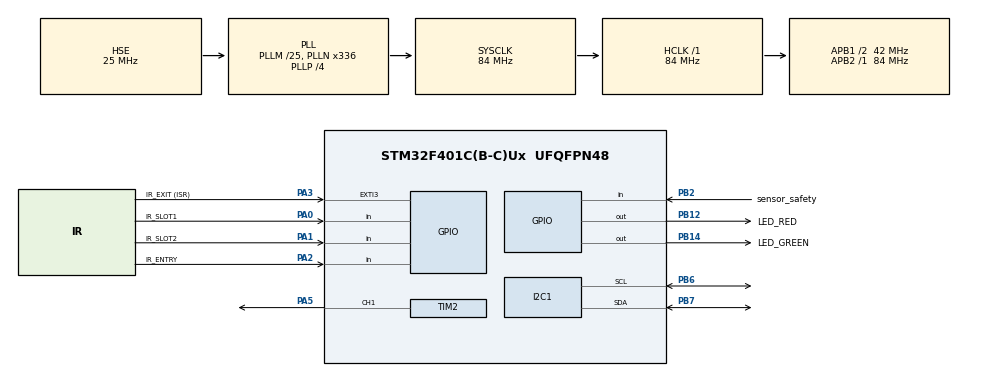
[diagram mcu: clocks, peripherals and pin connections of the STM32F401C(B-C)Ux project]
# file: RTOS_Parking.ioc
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FREERTOS.Tasks01=defaultTask,24,128,StartDefaultTask,Default,NULL,Dynamic,NULL,NULL
FREERTOS.configUSE_NEWLIB_REENTRANT=1
Mcu.Family=STM32F4
Mcu.Name=STM32F401C(B-C)Ux
Mcu.Package=UFQFPN48
NVIC.EXTI3_IRQn=true\:6\:0\:true\:false\:true\:true\:true\:true\:true
NVIC.PriorityGroup=NVIC_PRIORITYGROUP_4
NVIC.TIM1_UP_TIM10_IRQn=true\:15\:0\:false\:false\:true\:false\:false\:true\:true
NVIC.TimeBase=TIM1_UP_TIM10_IRQn
NVIC.TimeBaseIP=TIM1
PA0-WKUP.GPIO_Label=IR_SLOT1
PA0-WKUP.GPIO_PuPd=GPIO_PULLUP
PA0-WKUP.Signal=GPIO_Input
PA1.GPIO_Label=IR_SLOT2
PA1.GPIO_PuPd=GPIO_PULLUP
PA1.Signal=GPIO_Input
PA13.Mode=Serial_Wire
PA13.Signal=SYS_JTMS-SWDIO
PA14.Mode=Serial_Wire
PA14.Signal=SYS_JTCK-SWCLK
PA2.GPIO_Label=IR_ENTRY
PA2.GPIO_PuPd=GPIO_PULLUP
PA2.Signal=GPIO_Input
PA3.GPIO_Label=IR_EXIT (ISR)
PA3.GPIO_PuPd=GPIO_PULLUP
PA3.Signal=GPXTI3
PA5.Signal=S_TIM2_CH1_ETR
PB12.GPIO_Label=LED_RED
PB12.Signal=GPIO_Output
PB14.GPIO_Label=LED_GREEN
PB14.Signal=GPIO_Output
PB2.GPIO_Label=sensor_safety
PB2.GPIO_PuPd=GPIO_PULLUP
PB2.Signal=GPIO_Input
PB6.Mode=I2C
PB6.Signal=I2C1_SCL
PB7.Mode=I2C
PB7.Signal=I2C1_SDA
PH0\ -\ OSC_IN.Mode=HSE-External-Oscillator
PH0\ -\ OSC_IN.Signal=RCC_OSC_IN
PH1\ -\ OSC_OUT.Mode=HSE-External-Oscillator
PH1\ -\ OSC_OUT.Signal=RCC_OSC_OUT
ProjectManager.HeapSize=0x200
ProjectManager.StackSize=0x400
ProjectManager.TargetToolchain=STM32CubeIDE
RCC.48MHZClocksFreq_Value=84000000
RCC.AHBFreq_Value=84000000
RCC.APB1CLKDivider=RCC_HCLK_DIV2
RCC.APB1Freq_Value=42000000
RCC.APB1TimFreq_Value=84000000
RCC.APB2Freq_Value=84000000
RCC.APB2TimFreq_Value=84000000
RCC.CortexFreq_Value=84000000
RCC.HCLKFreq_Value=84000000
RCC.HSE_VALUE=25000000
RCC.HSI_VALUE=16000000
RCC.LSE_VALUE=32768
RCC.PLLM=25
RCC.PLLN=336
RCC.PLLP=RCC_PLLP_DIV4
RCC.PLLSourceVirtual=RCC_PLLSOURCE_HSE
RCC.SYSCLKFreq_VALUE=84000000
RCC.SYSCLKSource=RCC_SYSCLKSOURCE_PLLCLK
RCC.VCOOutputFreq_Value=336000000
SH.S_TIM2_CH1_ETR.0=TIM2_CH1,PWM Generation1 CH1
TIM2.Channel-PWM\ Generation1\ CH1=TIM_CHANNEL_1
TIM2.Period=19999
TIM2.Prescaler=83
TIM2.Pulse-PWM\ Generation1\ CH1=500
VP_FREERTOS_VS_CMSIS_V2.Mode=CMSIS_V2
VP_SYS_VS_tim1.Mode=TIM1
VP_TIM2_VS_ClockSourceINT.Mode=Internal
board=custom

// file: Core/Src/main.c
/* USER CODE BEGIN Header */
/**
  ******************************************************************************
  * @file           : main.c
  * @brief          : Main program body - RTOS Smart Parking
  ******************************************************************************
  */
/* USER CODE END Header */

#include "main.h"
#include "cmsis_os.h"

/* USER CODE BEGIN Includes */
#include "lcd_i2c.h"
#include "servo_control.h"
/* USER CODE END Includes */

I2C_HandleTypeDef hi2c1;
TIM_HandleTypeDef htim2;

/* Definitions for defaultTask */
osThreadId_t defaultTaskHandle;
const osThreadAttr_t defaultTask_attributes = {
  .name = "defaultTask",
  .stack_size = 128 * 4,
  .priority = (osPriority_t) osPriorityNormal,
};

void SystemClock_Config(void);
static void MX_GPIO_Init(void);
static void MX_TIM2_Init(void);
static void MX_I2C1_Init(void);
void StartDefaultTask(void *argument);

/* USER CODE BEGIN PFP */
void MX_FREERTOS_Init(void);
/* USER CODE END PFP */

int main(void)
{

  /* MCU Configuration--------------------------------------------------------*/

  HAL_Init();

  SystemClock_Config();

  MX_GPIO_Init();
  MX_TIM2_Init();
  MX_I2C1_Init();

  /* USER CODE BEGIN 2 */

  Servo_Init(&htim2, TIM_CHANNEL_1);
  Servo_Close();

  HAL_GPIO_WritePin(LED_GREEN_GPIO_Port, LED_GREEN_Pin, GPIO_PIN_RESET);
  HAL_GPIO_WritePin(LED_RED_GPIO_Port, LED_RED_Pin, GPIO_PIN_SET);

  LCD_Init(&hi2c1);
  HAL_Delay(1000);

  /* USER CODE END 2 */

  osKernelInitialize();

  /* Create the thread(s) */
  defaultTaskHandle = osThreadNew(StartDefaultTask, NULL, &defaultTask_attributes);

  /* USER CODE BEGIN RTOS_THREADS */
  MX_FREERTOS_Init();
  /* USER CODE END RTOS_THREADS */

  osKernelStart();

  while (1)
  {
  }
}

void SystemClock_Config(void)
{
  RCC_OscInitTypeDef RCC_OscInitStruct = {0};
  RCC_ClkInitTypeDef RCC_ClkInitStruct = {0};

  __HAL_RCC_PWR_CLK_ENABLE();
  __HAL_PWR_VOLTAGESCALING_CONFIG(PWR_REGULATOR_VOLTAGE_SCALE2);

  RCC_OscInitStruct.OscillatorType = RCC_OSCILLATORTYPE_HSE;
  RCC_OscInitStruct.HSEState = RCC_HSE_ON;
  RCC_OscInitStruct.PLL.PLLState = RCC_PLL_ON;
  RCC_OscInitStruct.PLL.PLLSource = RCC_PLLSOURCE_HSE;
  RCC_OscInitStruct.PLL.PLLM = 25;
  RCC_OscInitStruct.PLL.PLLN = 336;
  RCC_OscInitStruct.PLL.PLLP = RCC_PLLP_DIV4;
  RCC_OscInitStruct.PLL.PLLQ = 4;

  if (HAL_RCC_OscConfig(&RCC_OscInitStruct) != HAL_OK)
  {
    Error_Handler();
  }

  RCC_ClkInitStruct.ClockType = RCC_CLOCKTYPE_HCLK |
                                RCC_CLOCKTYPE_SYSCLK |
                                RCC_CLOCKTYPE_PCLK1 |
                                RCC_CLOCKTYPE_PCLK2;

  RCC_ClkInitStruct.SYSCLKSource = RCC_SYSCLKSOURCE_PLLCLK;
  RCC_ClkInitStruct.AHBCLKDivider = RCC_SYSCLK_DIV1;
  RCC_ClkInitStruct.APB1CLKDivider = RCC_HCLK_DIV2;
  RCC_ClkInitStruct.APB2CLKDivider = RCC_HCLK_DIV1;

  if (HAL_RCC_ClockConfig(&RCC_ClkInitStruct, FLASH_LATENCY_2) != HAL_OK)
  {
    Error_Handler();
  }
}

static void MX_I2C1_Init(void)
{
  hi2c1.Instance = I2C1;
  hi2c1.Init.ClockSpeed = 100000;
  hi2c1.Init.DutyCycle = I2C_DUTYCYCLE_2;
  hi2c1.Init.OwnAddress1 = 0;
  hi2c1.Init.AddressingMode = I2C_ADDRESSINGMODE_7BIT;
  hi2c1.Init.DualAddressMode = I2C_DUALADDRESS_DISABLE;
  hi2c1.Init.OwnAddress2 = 0;
  hi2c1.Init.GeneralCallMode = I2C_GENERALCALL_DISABLE;
  hi2c1.Init.NoStretchMode = I2C_NOSTRETCH_DISABLE;

  if (HAL_I2C_Init(&hi2c1) != HAL_OK)
  {
    Error_Handler();
  }
}

static void MX_TIM2_Init(void)
{
  TIM_ClockConfigTypeDef sClockSourceConfig = {0};
  TIM_MasterConfigTypeDef sMasterConfig = {0};
  TIM_OC_InitTypeDef sConfigOC = {0};

  htim2.Instance = TIM2;
  htim2.Init.Prescaler = 83;
  htim2.Init.CounterMode = TIM_COUNTERMODE_UP;
  htim2.Init.Period = 19999;
  htim2.Init.ClockDivision = TIM_CLOCKDIVISION_DIV1;
  htim2.Init.AutoReloadPreload = TIM_AUTORELOAD_PRELOAD_DISABLE;

  if (HAL_TIM_Base_Init(&htim2) != HAL_OK)
  {
    Error_Handler();
  }

  sClockSourceConfig.ClockSource = TIM_CLOCKSOURCE_INTERNAL;

  if (HAL_TIM_ConfigClockSource(&htim2, &sClockSourceConfig) != HAL_OK)
  {
    Error_Handler();
  }

  if (HAL_TIM_PWM_Init(&htim2) != HAL_OK)
  {
    Error_Handler();
  }

  sMasterConfig.MasterOutputTrigger = TIM_TRGO_RESET;
  sMasterConfig.MasterSlaveMode = TIM_MASTERSLAVEMODE_DISABLE;

  if (HAL_TIMEx_MasterConfigSynchronization(&htim2, &sMasterConfig) != HAL_OK)
  {
    Error_Handler();
  }

  sConfigOC.OCMode = TIM_OCMODE_PWM1;
  sConfigOC.Pulse = 500;
  sConfigOC.OCPolarity = TIM_OCPOLARITY_HIGH;
  sConfigOC.OCFastMode = TIM_OCFAST_DISABLE;

  if (HAL_TIM_PWM_ConfigChannel(&htim2, &sConfigOC, TIM_CHANNEL_1) != HAL_OK)
  {
    Error_Handler();
  }

  HAL_TIM_MspPostInit(&htim2);
}

static void MX_GPIO_Init(void)
{
  GPIO_InitTypeDef GPIO_InitStruct = {0};

  /* GPIO Ports Clock Enable */
  __HAL_RCC_GPIOH_CLK_ENABLE();
  __HAL_RCC_GPIOA_CLK_ENABLE();
  __HAL_RCC_GPIOB_CLK_ENABLE();

  /* Configure GPIO pin Output Level */
  HAL_GPIO_WritePin(GPIOB, LED_RED_Pin | LED_GREEN_Pin, GPIO_PIN_RESET);

  /*
    IR Slot 1, IR Slot 2, dan IR Entry sebagai input biasa.
    Semua sensor IR menggunakan pull-up karena aktif LOW.
  */
  GPIO_InitStruct.Pin = IR_SLOT1_Pin | IR_SLOT2_Pin | IR_ENTRY_Pin;
  GPIO_InitStruct.Mode = GPIO_MODE_INPUT;
  GPIO_InitStruct.Pull = GPIO_PULLUP;
  HAL_GPIO_Init(GPIOA, &GPIO_InitStruct);

  /*
    IR Exit PA3 sebagai EXTI3 interrupt.
    Karena IR aktif LOW:
    - Tidak terdeteksi = HIGH
    - Terdeteksi     = LOW
    Maka interrupt dipicu saat sinyal turun HIGH -> LOW = FALLING edge.
  */
  GPIO_InitStruct.Pin = IR_EXIT_Pin;
  GPIO_InitStruct.Mode = GPIO_MODE_IT_FALLING;
  GPIO_InitStruct.Pull = GPIO_PULLUP;
  HAL_GPIO_Init(IR_EXIT_GPIO_Port, &GPIO_InitStruct);

  /*
    IR Safety sebagai input biasa.
    Safety tetap dibaca periodik oleh SensorTask.
  */
  GPIO_InitStruct.Pin = sensor_safety_Pin;
  GPIO_InitStruct.Mode = GPIO_MODE_INPUT;
  GPIO_InitStruct.Pull = GPIO_PULLUP;
  HAL_GPIO_Init(sensor_safety_GPIO_Port, &GPIO_InitStruct);

  /* LED Merah dan LED Hijau sebagai output */
  GPIO_InitStruct.Pin = LED_RED_Pin | LED_GREEN_Pin;
  GPIO_InitStruct.Mode = GPIO_MODE_OUTPUT_PP;
  GPIO_InitStruct.Pull = GPIO_NOPULL;
  GPIO_InitStruct.Speed = GPIO_SPEED_FREQ_LOW;
  HAL_GPIO_Init(GPIOB, &GPIO_InitStruct);

  /*
    EXTI3 interrupt init.
    Priority 6 aman untuk FreeRTOS karena
    configLIBRARY_MAX_SYSCALL_INTERRUPT_PRIORITY = 5.
  */
  HAL_NVIC_SetPriority(EXTI3_IRQn, 6, 0);
  HAL_NVIC_EnableIRQ(EXTI3_IRQn);

}

void StartDefaultTask(void *argument)
{
  for (;;)
  {
    osDelay(1);
  }
}

void HAL_TIM_PeriodElapsedCallback(TIM_HandleTypeDef *htim)
{

  if (htim->Instance == TIM1)
  {
    HAL_IncTick();
  }

}

void Error_Handler(void)
{
  __disable_irq();
  while (1)
  {
  }
}

#ifdef USE_FULL_ASSERT
/**
  * @brief Reports the name of the source file and source line number
  * where assert_param error has occurred.
  * @param file: pointer to source file name
  * @param line: assert_param error line source number
  * @retval None
  */
void assert_failed(uint8_t *file, uint32_t line)
{
  /* USER CODE BEGIN 6 */
  (void)file;
  (void)line;
  /* USER CODE END 6 */
}
#endif /* USE_FULL_ASSERT */

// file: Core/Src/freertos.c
/* USER CODE BEGIN Header */
/**
  ******************************************************************************
  * File Name          : freertos.c
  * Description        : Code for freertos applications
  ******************************************************************************
  */
/* USER CODE END Header */

#include "FreeRTOS.h"
#include "task.h"
#include "main.h"

/* USER CODE BEGIN Includes */
#include "app_tasks.h"
/* USER CODE END Includes */

/* USER CODE BEGIN Application */

void MX_FREERTOS_Init(void)
{
  AppTasks_Init();
}

/* USER CODE END Application */
